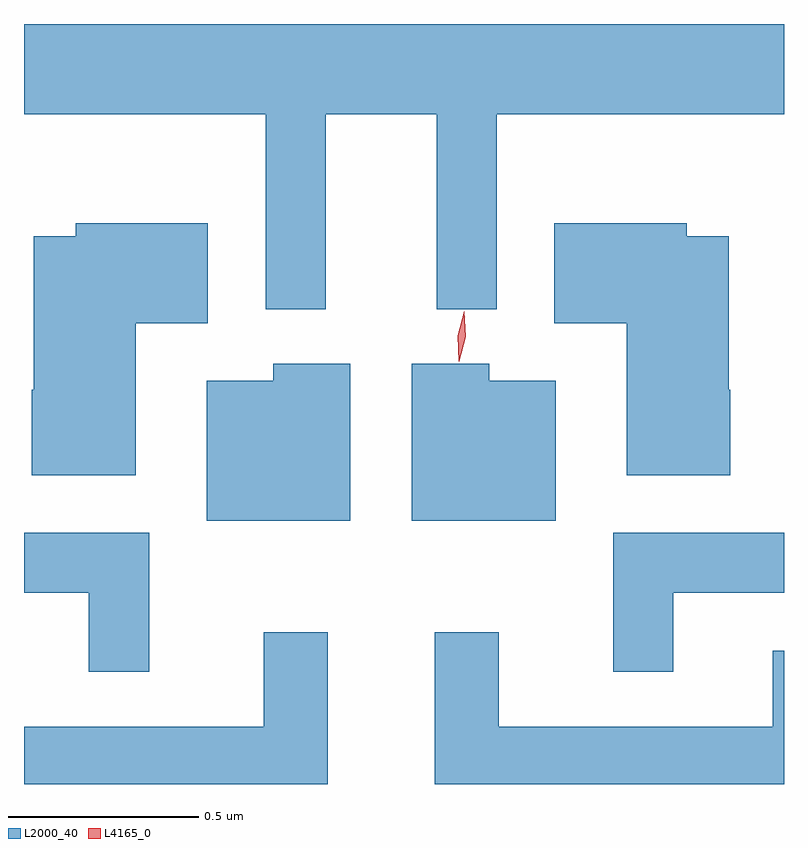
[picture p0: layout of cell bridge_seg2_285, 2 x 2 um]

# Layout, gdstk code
import gdstk
lib = gdstk.Library(unit=1e-6, precision=1e-09)
def P(c, l, *ps):  # polygons
    for p in ps: c.add(gdstk.Polygon(p, *l))
L2000_40 = (2000, 40)
L4165_0 = (4165, 0)

bridge_seg2_285 = lib.new_cell('bridge_seg2_285')
P(bridge_seg2_285, L2000_40, [(558.794,1086.056),(559.086,1086.056),(559.086,1085.543),(559.244,1085.543),(559.244,1086.056),(560,1086.056),(560,1086.293),(558,1086.293),(558,1086.056),(558.636,1086.056),(558.636,1085.543),(558.794,1085.543)],
  [(559.859,1085.33),(559.854,1085.33),(559.854,1085.734),(559.744,1085.734),(559.744,1085.769),(559.396,1085.769),(559.396,1085.506),(559.586,1085.506),(559.586,1085.106),(559.859,1085.106)],
  [(558.294,1085.506),(558.484,1085.506),(558.484,1085.769),(558.136,1085.769),(558.136,1085.734),(558.026,1085.734),(558.026,1085.33),(558.021,1085.33),(558.021,1085.106),(558.294,1085.106)],
  [(558.859,1085.399),(558.656,1085.399),(558.656,1085.354),(558.481,1085.354),(558.481,1084.986),(558.859,1084.986)],
  [(559.399,1085.354),(559.224,1085.354),(559.224,1085.399),(559.021,1085.399),(559.021,1084.986),(559.399,1084.986)],
  [(558.329,1084.954),(558,1084.954),(558,1084.796),(558.171,1084.796),(558.171,1084.588),(558.329,1084.588)],
  [(559.709,1084.796),(560,1084.796),(560,1084.954),(559.551,1084.954),(559.551,1084.588),(559.709,1084.588)],
  [(558.799,1084.693),(558.631,1084.693),(558.631,1084.444),(558,1084.444),(558,1084.293),(558.799,1084.293)],
  [(560,1084.644),(559.971,1084.644),(559.971,1084.444),(559.249,1084.444),(559.249,1084.693),(559.081,1084.693),(559.081,1084.293),(560,1084.293)])
P(bridge_seg2_285, L4165_0, [(559.145,1085.404),(559.144,1085.405),(559.142,1085.472),(559.158,1085.537),(559.158,1085.537),(559.159,1085.537),(559.162,1085.47),(559.145,1085.405)])

lib.write_gds('bridge_seg2_285.gds')
